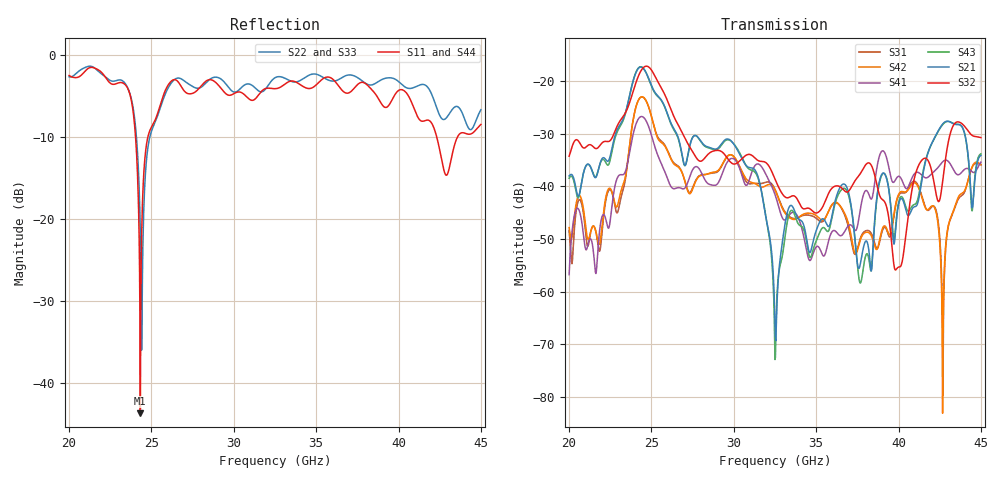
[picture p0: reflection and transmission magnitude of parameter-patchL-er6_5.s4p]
! TOUCHSTONE file generated by CST MICROWAVE STUDIO
! Date and time: Fri Jun  7 19:41:17 2024
! Project name: Final_26GHz_linear.cst
! Parameters = {Connector_spacing=15.33; Coplanar_gap=0.425; Distance_inner=4.78238; Distance_outer=14.3471; L=2.756; L_pad=5; Length_strip_inner=24.3248; Length_strip_outer=27.8328; Pad_via_diameter=2.1; Pad_via_x_centre=3.75; Pad_via_z_centre=2.8; Patch_spacing=5.76524; Via_diameter=0.4; Via_spaci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
! Header version: 2024
! Port assignment regex: !\s*Touchstone port\s*([0-9]+)\s*=\s*(CST MWS port|CST DES external port|CST DES block port)\s*(.+)\s* \(\"(.*)\"\)(\s*mode\s*([0-9]+))?.*
! Touchstone port assignment:
! Touchstone port 1 = CST MWS port 1 ("")
! Touchstone port 2 = CST MWS port 2 ("")
! Touchstone port 3 = CST MWS port 3 ("")
! Touchstone port 4 = CST MWS port 4 ("")
# GHz S MA R 50
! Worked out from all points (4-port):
!   1001 points, 20 GHz to 45 GHz, reference 50 ohm
!   strongest paths, dB at 20 GHz, 26.25 GHz, 32.5 GHz, 38.75 GHz, 45 GHz:
!     S32: -34.2, -25.9, -38.6, -40.6, -30.7
!     S21: -38.0, -28.4, -66.0, -40.5, -34.1
!     S43: -38.4, -28.6, -73.0, -40.9, -33.8
!     S41: -56.8, -40.3, -41.5, -35.3, -35.4
!     S42: -47.8, -35.2, -40.7, -51.6, -35.9
!     S31: -48.5, -35.0, -40.5, -51.7, -35.9
!   lowest |S11| = -43.7 dB at 24.32 GHz (marker M1), VSWR 1.01, Z = 49.8 + j0.622 ohm
!   |S11| at or under -10 dB: 24.03 GHz to 24.79 GHz (755.9 MHz wide, 3.1 % of centre); 42.31 GHz to 43.59 GHz (1.275 GHz wide, 2.97 % of centre)
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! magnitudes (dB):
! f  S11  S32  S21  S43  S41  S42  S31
! 20 GHz  -2.5  -34.2  -38.0  -38.4  -56.8  -47.8  -48.5
! 24.32 GHz  -43.7  -18.2  -17.3  -17.2  -26.7  -23.0  -23.1
! 31.38 GHz  -5.2  -34.8  -37.4  -37.7  -35.8  -39.6  -39.4
! 32.52 GHz  -4.1  -38.8  -69.0  -72.6  -41.8  -40.8  -40.7
! 41.02 GHz  -7.0  -37.7  -43.8  -43.3  -37.4  -39.4  -39.1
! 42.67 GHz  -13.4  -39.1  -28.1  -28.2  -35.3  -83.2  -69.6
! 45 GHz  -8.5  -30.7  -34.1  -33.8  -35.4  -35.9  -35.9
